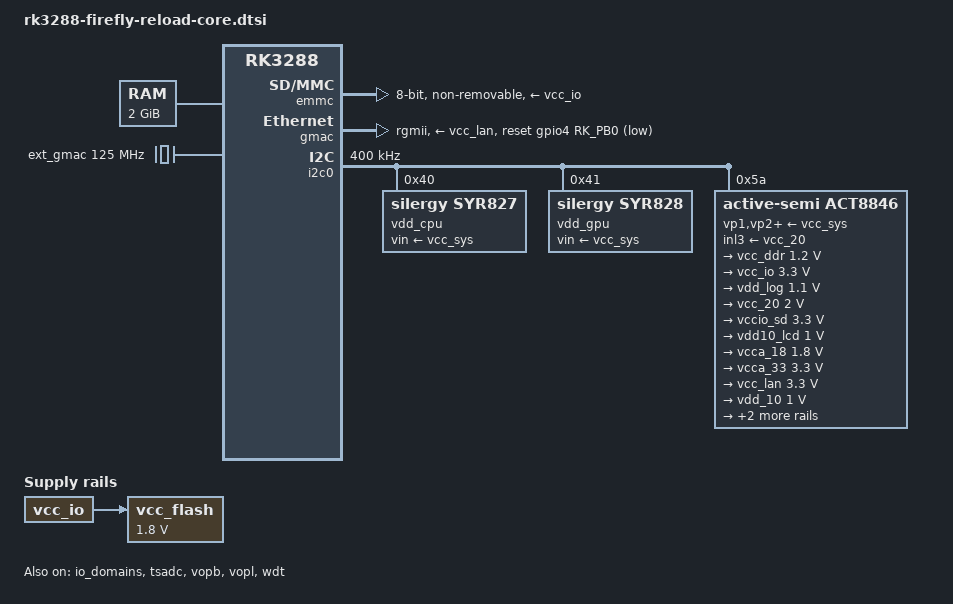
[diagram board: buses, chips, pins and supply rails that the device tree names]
// SPDX-License-Identifier: (GPL-2.0+ OR MIT)
/*
 * Device tree file for Firefly Rockchip RK3288 Core board
 * Copyright (c) 2016 Randy Li <ayaka@soulik.info>
 */

#include <dt-bindings/input/input.h>
#include "rk3288.dtsi"

/ {
	memory@0 {
		device_type = "memory";
		reg = <0x0 0x0 0x0 0x80000000>;
	};

	ext_gmac: external-gmac-clock {
		compatible = "fixed-clock";
		#clock-cells = <0>;
		clock-frequency = <125000000>;
		clock-output-names = "ext_gmac";
	};


	vcc_flash: flash-regulator {
		compatible = "regulator-fixed";
		regulator-name = "vcc_flash";
		regulator-min-microvolt = <1800000>;
		regulator-max-microvolt = <1800000>;
		vin-supply = <&vcc_io>;
	};
};

&cpu0 {
	cpu0-supply = <&vdd_cpu>;
};

&emmc {
	bus-width = <8>;
	cap-mmc-highspeed;
	disable-wp;
	mmc-ddr-1_8v;
	mmc-hs200-1_8v;
	non-removable;
	pinctrl-names = "default";
	pinctrl-0 = <&emmc_clk>, <&emmc_cmd>, <&emmc_pwr>, <&emmc_bus8>;
	vmmc-supply = <&vcc_io>;
	vqmmc-supply = <&vcc_flash>;
	status = "okay";
};

&gmac {
	assigned-clocks = <&cru SCLK_MAC>;
	assigned-clock-parents = <&ext_gmac>;
	clock_in_out = "input";
	pinctrl-names = "default";
	pinctrl-0 = <&rgmii_pins>, <&phy_rst>, <&phy_pmeb>, <&phy_int>;
	phy-supply = <&vcc_lan>;
	phy-mode = "rgmii";
	snps,reset-active-low;
	snps,reset-delays-us = <0 10000 1000000>;
	snps,reset-gpio = <&gpio4 RK_PB0 GPIO_ACTIVE_LOW>;
	tx_delay = <0x30>;
	rx_delay = <0x10>;
	status = "ok";
};

&i2c0 {
	clock-frequency = <400000>;
	status = "okay";

	vdd_cpu: syr827@40 {
		compatible = "silergy,syr827";
		fcs,suspend-voltage-selector = <1>;
		reg = <0x40>;
		regulator-name = "vdd_cpu";
		regulator-min-microvolt = <850000>;
		regulator-max-microvolt = <1350000>;
		regulator-always-on;
		regulator-boot-on;
		regulator-enable-ramp-delay = <300>;
		regulator-ramp-delay = <8000>;
		vin-supply = <&vcc_sys>;
	};

	vdd_gpu: syr828@41 {
		compatible = "silergy,syr828";
		fcs,suspend-voltage-selector = <1>;
		reg = <0x41>;
		regulator-name = "vdd_gpu";
		regulator-min-microvolt = <850000>;
		regulator-max-microvolt = <1350000>;
		regulator-always-on;
		vin-supply = <&vcc_sys>;
	};

	act8846: act8846@5a {
		compatible = "active-semi,act8846";
		reg = <0x5a>;
		pinctrl-names = "default";
		pinctrl-0 = <&pmic_vsel>, <&pwr_hold>;
		system-power-controller;

		vp1-supply = <&vcc_sys>;
		vp2-supply = <&vcc_sys>;
		vp3-supply = <&vcc_sys>;
		vp4-supply = <&vcc_sys>;
		inl1-supply = <&vcc_sys>;
		inl2-supply = <&vcc_sys>;
		inl3-supply = <&vcc_20>;

		regulators {
			vcc_ddr: REG1 {
				regulator-name = "vcc_ddr";
				regulator-min-microvolt = <1200000>;
				regulator-max-microvolt = <1200000>;
				regulator-always-on;
			};

			vcc_io: REG2 {
				regulator-name = "vcc_io";
				regulator-min-microvolt = <3300000>;
				regulator-max-microvolt = <3300000>;
				regulator-always-on;
			};

			vdd_log: REG3 {
				regulator-name = "vdd_log";
				regulator-min-microvolt = <1100000>;
				regulator-max-microvolt = <1100000>;
				regulator-always-on;
			};

			vcc_20: REG4 {
				regulator-name = "vcc_20";
				regulator-min-microvolt = <2000000>;
				regulator-max-microvolt = <2000000>;
				regulator-always-on;
			};

			vccio_sd: REG5 {
				regulator-name = "vccio_sd";
				regulator-min-microvolt = <3300000>;
				regulator-max-microvolt = <3300000>;
			};

			vdd10_lcd: REG6 {
				regulator-name = "vdd10_lcd";
				regulator-min-microvolt = <1000000>;
				regulator-max-microvolt = <1000000>;
				regulator-always-on;
			};

			vcca_18: REG7  {
				regulator-name = "vcca_18";
				regulator-min-microvolt = <1800000>;
				regulator-max-microvolt = <1800000>;
				regulator-always-on;
			};

			vcca_33: REG8 {
				regulator-name = "vcca_33";
				regulator-min-microvolt = <3300000>;
				regulator-max-microvolt = <3300000>;
				regulator-always-on;
			};

			vcc_lan: REG9 {
				regulator-name = "vcca_lan";
				regulator-min-microvolt = <3300000>;
				regulator-max-microvolt = <3300000>;
			};

			vdd_10: REG10 {
				regulator-name = "vdd_10";
				regulator-min-microvolt = <1000000>;
				regulator-max-microvolt = <1000000>;
				regulator-always-on;
			};

			vccio_wl: vcc_18: REG11 {
				regulator-name = "vcc_18";
				regulator-min-microvolt = <1800000>;
				regulator-max-microvolt = <1800000>;
			};

			vcc18_lcd: REG12 {
				regulator-name = "vcc18_lcd";
				regulator-min-microvolt = <1800000>;
				regulator-max-microvolt = <1800000>;
				regulator-always-on;
			};
		};
	};
};

&io_domains {
	status = "okay";

	audio-supply = <&vccio_wl>;
	bb-supply = <&vcc_io>;
	dvp-supply = <&dovdd_1v8>;
	flash0-supply = <&vcc_flash>;
	flash1-supply = <&vcc_lan>;
	gpio30-supply = <&vcc_io>;
	gpio1830-supply = <&vcc_io>;
	lcdc-supply = <&vcc_io>;
	sdcard-supply = <&vccio_sd>;
	wifi-supply = <&vccio_wl>;
};

&pinctrl {
	pcfg_output_high: pcfg-output-high {
		output-high;
	};

	pcfg_output_low: pcfg-output-low {
		output-low;
	};

	pcfg_pull_up_drv_12ma: pcfg-pull-up-drv-12ma {
		bias-pull-up;
		drive-strength = <12>;
	};

	act8846 {
		pwr_hold: pwr-hold {
			rockchip,pins = <0 1 RK_FUNC_GPIO &pcfg_output_high>;
		};

		pmic_vsel: pmic-vsel {
			rockchip,pins = <7 14 RK_FUNC_GPIO &pcfg_output_low>;
		};
	};

	gmac {
		phy_int: phy-int {
			rockchip,pins = <0 9 RK_FUNC_GPIO &pcfg_pull_up>;
		};

		phy_pmeb: phy-pmeb {
			rockchip,pins = <0 8 RK_FUNC_GPIO &pcfg_pull_up>;
		};

		phy_rst: phy-rst {
			rockchip,pins = <4 8 RK_FUNC_GPIO &pcfg_output_high>;
		};
	};
};

&tsadc {
	rockchip,hw-tshut-mode = <0>;
	rockchip,hw-tshut-polarity = <0>;
	status = "okay";
};

&vopb {
	status = "okay";
};

&vopb_mmu {
	status = "okay";
};

&vopl {
	status = "okay";
};

&vopl_mmu {
	status = "okay";
};

&wdt {
	status = "okay";
};
